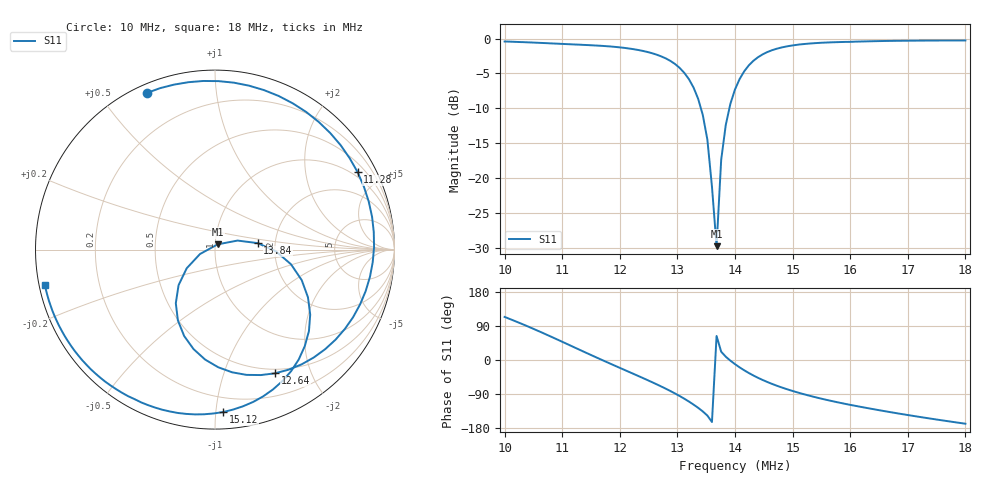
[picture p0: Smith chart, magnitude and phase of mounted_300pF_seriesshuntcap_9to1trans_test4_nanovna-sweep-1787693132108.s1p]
! S11 from mounted_300pF_seriesshuntcap_9to1trans_test4_nanovna-sweep-1787693132108.csv, converted by the rf-network-modeller history importer
# HZ S RI R 50
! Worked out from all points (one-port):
!   101 points, 10 MHz to 18 MHz, reference 50 ohm
!   lowest |S11| = -29.8 dB at 13.68 MHz (marker M1), VSWR 1.07, Z = 51.4 + j2.99 ohm
!   |S11| at or under -10 dB: 13.41 MHz to 13.9 MHz (495.4 kHz wide, 3.63 % of centre)
!   S11 on the Smith chart (normalised r, x): 10 MHz: 0.04, +0.65; 11.28 MHz: 0.80, +3.78; 12.64 MHz: 0.45, -1.50; 13.84 MHz: 1.62, +0.12; 15.12 MHz: 0.10, -1.05; 18 MHz: 0.02, -0.10
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1e7  -0.3816 0.872
1.032e7  -0.0651 0.9395
1.056e7  0.1895 0.9134
1.104e7  0.6419 0.6496
1.128e7  0.7945 0.4314
1.168e7  0.8862 0.0129
1.2e7  0.808 -0.3059
1.232e7  0.6135 -0.555
1.264e7  0.3338 -0.6894
1.288e7  0.0957 -0.6837
1.304e7  -0.055 -0.6127
1.328e7  -0.2067 -0.3947
1.344e7  -0.2031 -0.1987
1.352e7  -0.1577 -0.1041
1.36e7  -0.0834 -0.0244
1.368e7  0.0145 0.0291
1.376e7  0.1252 0.0503
1.384e7  0.2378 0.0361
1.4e7  0.4237 -0.0821
1.416e7  0.518 -0.266
1.44e7  0.5002 -0.5378
1.472e7  0.3225 -0.7796
1.504e7  0.1006 -0.8913
1.512e7  0.0459 -0.9051
1.552e7  -0.2063 -0.9103
1.6e7  -0.4495 -0.8325
1.704e7  -0.8018 -0.5364
1.8e7  -0.9477 -0.1991
